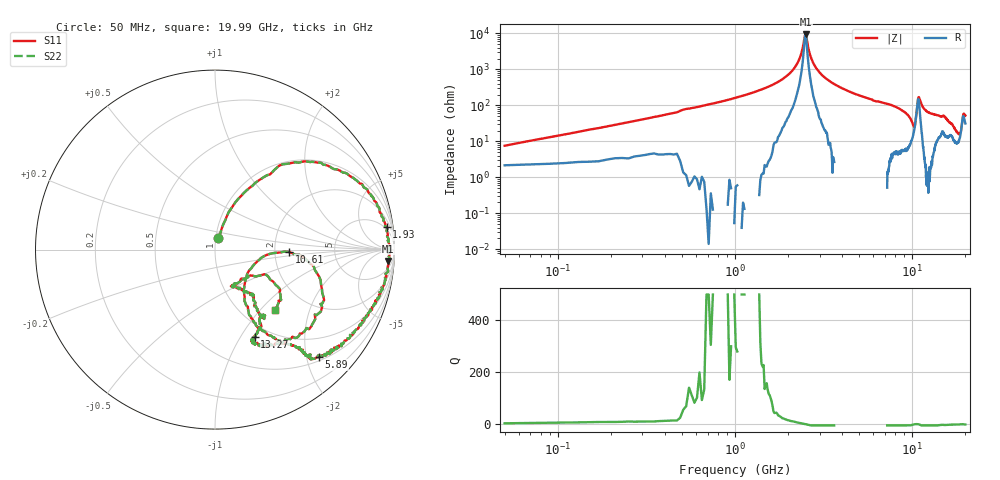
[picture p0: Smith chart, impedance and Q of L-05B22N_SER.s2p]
! Data Taken on a HP 8720C VNA using a series-through fixture with TRL* de-embedding
#	mhz	s	ma	r	50
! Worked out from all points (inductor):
!   998 points, 50 MHz to 19.99 GHz, reference 50 ohm
!   read as one part in series: L = 21.6 nH near 130 MHz
!   highest |Z| = 9.36 kohm at 2.51 GHz (marker M1)
!   self-resonance near 2.49 GHz
!   S11 on the Smith chart (normalised r, x): 50 MHz: 1.03, +0.13; 1.93 GHz: 4, +14; 5.89 GHz: 0.58, -2.24; 10.61 GHz: 2.40, -0.07; 13.27 GHz: 0.84, -1.16; 19.99 GHz: 1.39, -1.22
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50  0.0651 72.9  0.97 -4.5  0.97 -4.5  0.0651 72.9
250  0.31 65.5  0.9228 -18.5  0.9228 -18.5  0.31 65.5
570  0.625 49.9  0.7477 -40.6  0.7477 -40.6  0.625 49.9
1170  0.8728 26.6  0.4319 -63.9  0.4319 -63.9  0.8728 26.6
1930  0.9641 7.4  0.1561 -79.4  0.1561 -79.4  0.9641 7.4
2250  0.9722 0.8  0.06555 -80.3  0.06555 -80.3  0.9722 0.8
2510  0.9674 -3.7  0.01033 8.3  0.01033 8.3  0.9674 -3.7
2830  0.967 -9.1  0.07823 75.2  0.07823 75.2  0.967 -9.1
3390  0.9446 -16.6  0.1925 72.7  0.1925 72.7  0.9446 -16.6
5890  0.8323 -45.9  0.5242 51.0  0.5242 51.0  0.8323 -45.9
6710  0.7806 -48.9  0.5914 44.8  0.5914 44.8  0.7806 -48.9
9030  0.5538 -58.3  0.7694 28.3  0.7694 28.3  0.5538 -58.3
10030  0.3126 -58.1  0.8519 12.7  0.8519 12.7  0.3126 -58.1
10350  0.227 -27.7  0.7974 0.8  0.7974 0.8  0.227 -27.7
10610  0.4118 -1.8  0.5893 -9.8  0.5893 -9.8  0.4118 -1.8
10910  0.656 -23.2  0.3757 18.3  0.3757 18.3  0.656 -23.2
11470  0.6485 -53.6  0.6421 34.0  0.6421 34.0  0.6485 -53.6
13270  0.5369 -65.6  0.7907 20.8  0.7907 20.8  0.5369 -65.6
13350  0.5261 -64.9  0.7944 20.3  0.7944 20.3  0.5261 -64.9
16670  0.3171 -50.4  0.8786 10.2  0.8786 10.2  0.3171 -50.4
18890  0.2185 -49.2  0.822 -5.7  0.822 -5.7  0.2185 -49.2
19990  0.4764 -45.2  0.7539 9.3  0.7539 9.3  0.4764 -45.2
